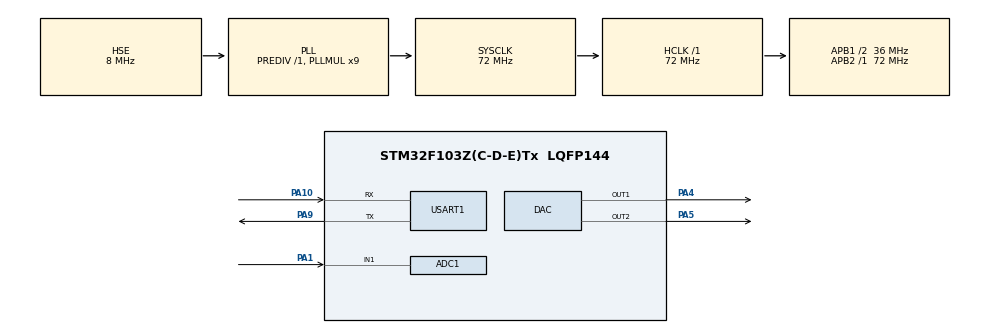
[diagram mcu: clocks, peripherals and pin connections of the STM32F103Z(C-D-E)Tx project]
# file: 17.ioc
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ADC1.Channel-2\#ChannelRegularConversion=ADC_CHANNEL_1
ADC1.ContinuousConvMode=ENABLE
ADC1.NbrOfConversionFlag=1
ADC1.Rank-2\#ChannelRegularConversion=1
ADC1.SamplingTime-2\#ChannelRegularConversion=ADC_SAMPLETIME_1CYCLE_5
ADC1.master=1
DAC.DAC_OutputBuffer=DAC_OUTPUTBUFFER_DISABLE
DAC.DAC_OutputBuffer2=DAC_OUTPUTBUFFER_DISABLE
DAC.DAC_Trigger=DAC_TRIGGER_T2_TRGO
DAC.DAC_Trigger2=DAC_TRIGGER_T2_TRGO
Dma.ADC1.2.Direction=DMA_PERIPH_TO_MEMORY
Dma.ADC1.2.Instance=DMA1_Channel1
Dma.ADC1.2.MemDataAlignment=DMA_MDATAALIGN_HALFWORD
Dma.ADC1.2.MemInc=DMA_MINC_ENABLE
Dma.ADC1.2.Mode=DMA_CIRCULAR
Dma.ADC1.2.PeriphDataAlignment=DMA_PDATAALIGN_HALFWORD
Dma.ADC1.2.PeriphInc=DMA_PINC_DISABLE
Dma.ADC1.2.Priority=DMA_PRIORITY_LOW
Dma.DAC_CH1.0.Direction=DMA_MEMORY_TO_PERIPH
Dma.DAC_CH1.0.Instance=DMA2_Channel3
Dma.DAC_CH1.0.MemDataAlignment=DMA_MDATAALIGN_HALFWORD
Dma.DAC_CH1.0.MemInc=DMA_MINC_ENABLE
Dma.DAC_CH1.0.Mode=DMA_CIRCULAR
Dma.DAC_CH1.0.PeriphDataAlignment=DMA_PDATAALIGN_HALFWORD
Dma.DAC_CH1.0.PeriphInc=DMA_PINC_DISABLE
Dma.DAC_CH1.0.Priority=DMA_PRIORITY_VERY_HIGH
Dma.DAC_CH2.1.Direction=DMA_MEMORY_TO_PERIPH
Dma.DAC_CH2.1.Instance=DMA2_Channel4
Dma.DAC_CH2.1.MemDataAlignment=DMA_MDATAALIGN_HALFWORD
Dma.DAC_CH2.1.MemInc=DMA_MINC_ENABLE
Dma.DAC_CH2.1.Mode=DMA_CIRCULAR
Dma.DAC_CH2.1.PeriphDataAlignment=DMA_PDATAALIGN_HALFWORD
Dma.DAC_CH2.1.PeriphInc=DMA_PINC_DISABLE
Dma.DAC_CH2.1.Priority=DMA_PRIORITY_VERY_HIGH
Dma.Request0=DAC_CH1
Dma.Request1=DAC_CH2
Dma.Request2=ADC1
Mcu.Family=STM32F1
Mcu.Name=STM32F103Z(C-D-E)Tx
Mcu.Package=LQFP144
NVIC.DMA1_Channel1_IRQn=true\:0\:0\:false\:false\:true\:false\:true\:true
NVIC.DMA2_Channel3_IRQn=true\:0\:0\:false\:false\:true\:false\:true\:true
NVIC.DMA2_Channel4_5_IRQn=true\:0\:0\:false\:false\:true\:false\:true\:true
NVIC.PriorityGroup=NVIC_PRIORITYGROUP_4
NVIC.USART1_IRQn=true\:0\:0\:false\:false\:true\:true\:true\:true
OSC_IN.Mode=HSE-External-Oscillator
OSC_IN.Signal=RCC_OSC_IN
OSC_OUT.Mode=HSE-External-Oscillator
OSC_OUT.Signal=RCC_OSC_OUT
PA1.Signal=ADCx_IN1
PA10.Mode=Asynchronous
PA10.Signal=USART1_RX
PA13.Mode=Serial_Wire
PA13.Signal=SYS_JTMS-SWDIO
PA14.Mode=Serial_Wire
PA14.Signal=SYS_JTCK-SWCLK
PA4.Signal=COMP_DAC1_group
PA5.Signal=COMP_DAC2_group
PA9.Mode=Asynchronous
PA9.Signal=USART1_TX
ProjectManager.HeapSize=0x600
ProjectManager.StackSize=0x1000
ProjectManager.TargetToolchain=MDK-ARM V5.32
RCC.ADCPresc=RCC_ADCPCLK2_DIV6
RCC.AHBFreq_Value=72000000
RCC.APB1CLKDivider=RCC_HCLK_DIV2
RCC.APB1Freq_Value=36000000
RCC.APB1TimFreq_Value=72000000
RCC.APB2Freq_Value=72000000
RCC.APB2TimFreq_Value=72000000
RCC.HCLKFreq_Value=72000000
RCC.PLLMUL=RCC_PLL_MUL9
RCC.PLLSourceVirtual=RCC_PLLSOURCE_HSE
RCC.SYSCLKFreq_VALUE=72000000
RCC.SYSCLKSource=RCC_SYSCLKSOURCE_PLLCLK
RCC.USBFreq_Value=72000000
SH.ADCx_IN1.0=ADC1_IN1,IN1
SH.COMP_DAC1_group.0=DAC_OUT1,DAC_OUT1
SH.COMP_DAC2_group.0=DAC_OUT2,DAC_OUT2
TIM2.AutoReloadPreload=TIM_AUTORELOAD_PRELOAD_ENABLE
TIM2.Period=72-1
TIM2.TIM_MasterOutputTrigger=TIM_TRGO_UPDATE
USART1.VirtualMode=VM_ASYNC
VP_TIM2_VS_ClockSourceINT.Mode=Internal
board=custom

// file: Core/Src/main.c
/* USER CODE BEGIN Header */
/**
  ******************************************************************************
  * @file           : main.c
  * @brief          : Main program body
  ******************************************************************************
  * @attention
  *
  * Copyright (c) 2025 STMicroelectronics.
  * All rights reserved.
  *
  * This software is licensed under terms that can be found in the LICENSE file
  * in the root directory of this software component.
  * If no LICENSE file comes with this software, it is provided AS-IS.
  *
  ******************************************************************************
  */
/* USER CODE END Header */
#include "main.h"
#include "adc.h"
#include "dac.h"
#include "dma.h"
#include "tim.h"
#include "usart.h"
#include "gpio.h"

/* USER CODE BEGIN Includes */
#include "AnalysisCmd.h"
/* USER CODE END Includes */

/* USER CODE BEGIN PTD */
extern DAC_HandleTypeDef hdac;
extern UART_HandleTypeDef huart1;
uint8_t Buffer[1];
uint8_t UART_Buffer[2];
uint8_t UART_sta=0;
uint8_t UART_index = 0;
uint16_t freq=0;
uint16_t ADC_Value[100]={0};
uint32_t Value=0;   //?????
float V=0;

// Buffer for Osc display
uint16_t Curve40_12bit_Buffer[2][80] = // ?40????,??????12???,Curve40_12bit_Buffer[0]????X??,Curve40_12bit_Buffer[1]????Y??
{
  {
    100, 200, 300, 400, 500, 600, 700, 800, 900, 1000,
    1100, 1200, 1300, 1400, 1500, 1600, 1700, 1800, 1900, 2000,
    2100, 2200, 2300, 2400, 2500, 2600, 2700, 2800, 2900, 3000,
    3100, 3200, 3300, 3400, 3500, 3600, 3700, 3800, 3900, 4000,

    4000, 4000, 4000, 4000, 4000, 4000, 4000, 4000, 4000, 4000,
    100, 100, 100, 100, 100, 100, 100, 100, 100, 100,
  },
  {
    10, 22, 40, 60, 78, 94, 110, 125, 144, 161,
    390, 1000, 2200, 1000, 750, 630, 590, 612, 800, 757,
    800, 900, 1000, 1100, 1200, 1300, 1400, 1500, 1600, 1700,
    1800, 1900, 2000, 2100, 2200, 2300, 2400, 2500, 2600, 2700,

    0,0,0,0,0,0,0,0,0,0,
    0,0,0,0,0,0,0,0,0,0

  }
};

/* USER CODE END PTD */

/* USER CODE BEGIN PM */
int fputc(int ch, FILE *f)
{
  HAL_UART_Transmit(&huart1, (uint8_t *)&ch, 1, 0xffff);
  return ch;
}

/**
 * @brief ?????c????getchar,scanf??USARTx
 * @retval None
 */
int fgetc(FILE *f)
{
  uint8_t ch = 0;
  HAL_UART_Receive(&huart1, &ch, 1, 0xffff);
  return ch;
}

uint32_t getADC_bit(){
		// PA1
		int i;
		// average
		for(i=0;i<10;i++)
			Value+=ADC_Value[i];
		Value/=10;
		HAL_Delay(10);
		return Value;
}

float getADC(){
		// PA1
		int i;
		// average
		for(i=0;i<100;i++)
			Value+=ADC_Value[i];
		Value/=100;
		V=Value*3300/4096;  //ADC????4096,??3300mV
		HAL_Delay(10);
		return V;
}

void update_curve_buffer(uint16_t frequency)
{
	uint32_t amp = 0;
	for(int i=0;i<100;i++)
			amp+=ADC_Value[i];
	amp/=100;
	printf("ave_bit=%d\n", amp);
	printf("curve update @ f=%d\n to %d",frequency, amp); // TEST
	if (frequency <= 40)
	{
		Curve40_12bit_Buffer[1][frequency] = amp;
	}
}

void HAL_UART_RxCpltCallback(UART_HandleTypeDef *huart)
{
//	printf("\nCB\n"); // TEST
  if (huart->Instance == USART1)
  {
//    HAL_UART_Transmit(&huart1, (uint8_t *)Buffer, 1, 0xffff);
//		printf("buf[0]=%d\nstatus=%d\n", Buffer[0], UART_sta);
		if (Buffer[0]==0x05 && UART_sta != 1) {
			UART_sta=1;
			UART_index=0;
		}
		else if(Buffer[0]==0xfe && UART_sta == 1) {
			UART_sta=0;
			UART_index=0;
			freq = UART_Buffer[0] | UART_Buffer[1] << 8;
			// Update curve buffer
			update_curve_buffer(freq/100);
					printf("buf[0]=%d\nstatus=%d\n", Buffer[0], UART_sta);
		}
		else if(UART_sta==1)UART_Buffer[UART_index++]=Buffer[0];
    HAL_UART_Receive_IT(&huart1, (uint8_t *)Buffer, 1);
  }

}

void SendCoordData(uint16_t* arrayX, uint16_t* arrayY, uint8_t length) {
	// example cmd (CMD_Crood << 8) | CMD_HEADER, (CMD_HEADER << 8) | CMD_Freq
	// CMD_Crood fellow with a arry that [x1,y1,x2,y2,...]
		const uint16_t* array1 = arrayX;
		const uint16_t* array2 = arrayY;
		const uint16_t cmd_header = CMD_HEADER;
		const uint16_t cmd_coord = CMD_Crood;
		HAL_UART_Transmit(&huart1, (uint8_t*)&cmd_header, 1, 0xFFFF);
    HAL_UART_Transmit(&huart1, (uint8_t*)&cmd_coord, 1, 0xFFFF);
    uint8_t mid = 0xe;
    for(uint8_t i = 0; i < 40; i++) {
        HAL_UART_Transmit(&huart1, &mid, 1, 0xFFFF);	// Send low byte first
        HAL_UART_Transmit(&huart1, &mid, 1, 0xFFFF);	// Send low byte first

        HAL_UART_Transmit(&huart1, &mid, 1, 0xFFFF);     // Send high byte
        HAL_UART_Transmit(&huart1, &mid, 1, 0xFFFF);     // Send high byte
    }

    // uint8_t mid = 0xee;
		// HAL_UART_Transmit(&huart1, &mid, 1, 0xFFFF);	// Send End
		// HAL_UART_Transmit(&huart1, &mid, 1, 0xFFFF);	// Send End
		// HAL_UART_Transmit(&huart1, &mid, 1, 0xFFFF);	// Send End
		// HAL_UART_Transmit(&huart1, &mid, 1, 0xFFFF);	// Send End

		uint8_t end1 = END_1;
		uint8_t end2 = END_2;
		HAL_UART_Transmit(&huart1, &end1, 1, 0xFFFF);	// Send End
		HAL_UART_Transmit(&huart1, &end2, 1, 0xFFFF);	// Send End
}

/* USER CODE END PM */

/* USER CODE BEGIN PV */
// PA4 DAC1, PA5 DAC2
// Sine Wave Data, 12 bit Deepth  @Test
// 1M Sampling Rate , 10k Freq
// 100 Point one cycle
const uint16_t Sine12bit[100]={	0x0800,0x0881,0x0901,0x0980,0x09FD,0x0A79,0x0AF2,0x0B68,0x0BDA,0x0C49,
0x0CB3,0x0D19,0x0D79,0x0DD4,0x0E29,0x0E78,0x0EC0,0x0F02,0x0F3C,0x0F6F,	0x0F9B,0x0FBF,0x0FDB,0x0FEF,0x0FFB,0x0FFF,0x0FFB,0x0FEF,0x0FDB,0x0FBF,
0x0F9B,0x0F6F,0x0F3C,0x0F02,0x0EC0,0x0E78,0x0E29,0x0DD4,0x0D79,0x0D19,
0x0CB3,0x0C49,0x0BDA,0x0B68,0x0AF2,0x0A79,0x09FD,0x0980,0x0901,0x0881,
0x0800,0x077F,0x06FF,0x0680,0x0603,0x0587,0x050E,0x0498,0x0426,0x03B7,	0x034D,0x02E7,0x0287,0x022C,0x01D7,0x0188,0x0140,0x00FE,0x00C4,0x0091,
0x0065,0x0041,0x0025,0x0011,0x0005,0x0001,0x0005,0x0011,0x0025,0x0041,
0x0065,0x0091,0x00C4,0x00FE,0x0140,0x0188,0x01D7,0x022C,0x0287,0x02E7,
0x034D,0x03B7,0x0426,0x0498,0x050E,0x0587,0x0603,0x0680,0x06FF,0x077F,
};

/* USER CODE END PV */

void SystemClock_Config(void);

int main(void)
{

  /* MCU Configuration--------------------------------------------------------*/

  /* Reset of all peripherals, Initializes the Flash interface and the Systick. */
  HAL_Init();

  /* Configure the system clock */
  SystemClock_Config();

  /* Initialize all configured peripherals */
  MX_GPIO_Init();
  MX_DMA_Init();
  MX_DAC_Init();
  MX_TIM2_Init();
  MX_USART1_UART_Init();
  MX_ADC1_Init();
  /* USER CODE BEGIN 2 */
	HAL_TIM_Base_Start(&htim2);
	HAL_DAC_Start_DMA(&hdac,DAC_CHANNEL_1,(uint32_t*)Curve40_12bit_Buffer[0],60,DAC_ALIGN_12B_R);// 100 is the DataSize, here transimit half word(16bit) once
	HAL_DAC_Start_DMA(&hdac,DAC_CHANNEL_2,(uint32_t*)Curve40_12bit_Buffer[1],60,DAC_ALIGN_12B_R);

  HAL_ADC_Start_DMA(&hadc1,(uint32_t *)ADC_Value,100);

  HAL_UART_Receive_IT(&huart1, (uint8_t *)Buffer, 1);

	printf("start\n");
  /* USER CODE END 2 */

  /* Infinite loop */
  while (1)
  {

  }
}

void SystemClock_Config(void)
{
  RCC_OscInitTypeDef RCC_OscInitStruct = {0};
  RCC_ClkInitTypeDef RCC_ClkInitStruct = {0};
  RCC_PeriphCLKInitTypeDef PeriphClkInit = {0};

  /** Initializes the RCC Oscillators according to the specified parameters
  * in the RCC_OscInitTypeDef structure.
  */
  RCC_OscInitStruct.OscillatorType = RCC_OSCILLATORTYPE_HSE;
  RCC_OscInitStruct.HSEState = RCC_HSE_ON;
  RCC_OscInitStruct.HSEPredivValue = RCC_HSE_PREDIV_DIV1;
  RCC_OscInitStruct.HSIState = RCC_HSI_ON;
  RCC_OscInitStruct.PLL.PLLState = RCC_PLL_ON;
  RCC_OscInitStruct.PLL.PLLSource = RCC_PLLSOURCE_HSE;
  RCC_OscInitStruct.PLL.PLLMUL = RCC_PLL_MUL9;
  if (HAL_RCC_OscConfig(&RCC_OscInitStruct) != HAL_OK)
  {
    Error_Handler();
  }

  /** Initializes the CPU, AHB and APB buses clocks
  */
  RCC_ClkInitStruct.ClockType = RCC_CLOCKTYPE_HCLK|RCC_CLOCKTYPE_SYSCLK
                              |RCC_CLOCKTYPE_PCLK1|RCC_CLOCKTYPE_PCLK2;
  RCC_ClkInitStruct.SYSCLKSource = RCC_SYSCLKSOURCE_PLLCLK;
  RCC_ClkInitStruct.AHBCLKDivider = RCC_SYSCLK_DIV1;
  RCC_ClkInitStruct.APB1CLKDivider = RCC_HCLK_DIV2;
  RCC_ClkInitStruct.APB2CLKDivider = RCC_HCLK_DIV1;

  if (HAL_RCC_ClockConfig(&RCC_ClkInitStruct, FLASH_LATENCY_2) != HAL_OK)
  {
    Error_Handler();
  }
  PeriphClkInit.PeriphClockSelection = RCC_PERIPHCLK_ADC;
  PeriphClkInit.AdcClockSelection = RCC_ADCPCLK2_DIV6;
  if (HAL_RCCEx_PeriphCLKConfig(&PeriphClkInit) != HAL_OK)
  {
    Error_Handler();
  }
}

void Error_Handler(void)
{
  __disable_irq();
  while (1)
  {
  }
}
